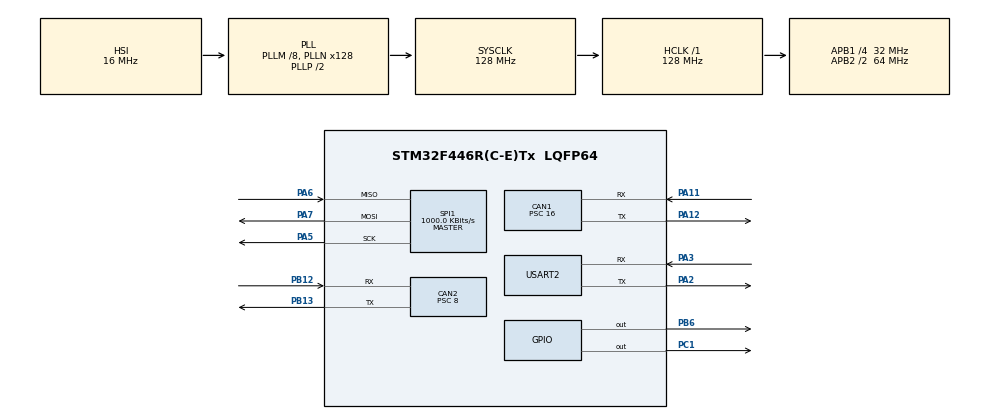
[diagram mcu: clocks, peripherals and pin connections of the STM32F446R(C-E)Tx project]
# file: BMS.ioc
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CAN1.BS1=CAN_BS1_2TQ
CAN1.CalculateBaudRate=500000
CAN1.CalculateTimeBit=2000
CAN1.CalculateTimeQuantum=500.0
CAN1.Mode=CAN_MODE_LOOPBACK
CAN1.Prescaler=16
CAN2.BS1=CAN_BS1_2TQ
CAN2.CalculateBaudRate=1000000
CAN2.CalculateTimeBit=1000
CAN2.CalculateTimeQuantum=250.0
CAN2.Prescaler=8
Mcu.Family=STM32F4
Mcu.Name=STM32F446R(C-E)Tx
Mcu.Package=LQFP64
NVIC.PriorityGroup=NVIC_PRIORITYGROUP_4
PA11.Mode=CAN_Activate
PA11.Signal=CAN1_RX
PA12.Mode=CAN_Activate
PA12.Signal=CAN1_TX
PA13.Mode=Serial_Wire
PA13.Signal=SYS_JTMS-SWDIO
PA14.Mode=Serial_Wire
PA14.Signal=SYS_JTCK-SWCLK
PA2.Mode=Asynchronous
PA2.Signal=USART2_TX
PA3.Mode=Asynchronous
PA3.Signal=USART2_RX
PA5.Mode=Full_Duplex_Master
PA5.Signal=SPI1_SCK
PA6.Mode=Full_Duplex_Master
PA6.Signal=SPI1_MISO
PA7.Mode=Full_Duplex_Master
PA7.Signal=SPI1_MOSI
PB12.Mode=CAN_Activate
PB12.Signal=CAN2_RX
PB13.Mode=CAN_Activate
PB13.Signal=CAN2_TX
PB6.Signal=GPIO_Output
PC1.Signal=GPIO_Output
ProjectManager.HeapSize=0x200
ProjectManager.StackSize=0x400
ProjectManager.TargetToolchain=STM32CubeIDE
RCC.AHBFreq_Value=128000000
RCC.APB1CLKDivider=RCC_HCLK_DIV4
RCC.APB1Freq_Value=32000000
RCC.APB1TimFreq_Value=64000000
RCC.APB2CLKDivider=RCC_HCLK_DIV2
RCC.APB2Freq_Value=64000000
RCC.APB2TimFreq_Value=128000000
RCC.CortexFreq_Value=128000000
RCC.HCLKFreq_Value=128000000
RCC.PLLM=8
RCC.PLLN=128
RCC.SYSCLKFreq_VALUE=128000000
RCC.SYSCLKSource=RCC_SYSCLKSOURCE_PLLCLK
RCC.USBFreq_Value=128000000
RCC.VCOOutputFreq_Value=256000000
SPI1.BaudRatePrescaler=SPI_BAUDRATEPRESCALER_64
SPI1.CalculateBaudRate=1000.0 KBits/s
SPI1.Direction=SPI_DIRECTION_2LINES
SPI1.Mode=SPI_MODE_MASTER
SPI1.VirtualType=VM_MASTER
USART2.VirtualMode=VM_ASYNC
board=custom

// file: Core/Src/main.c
/* USER CODE BEGIN Header */
/**
 ******************************************************************************
 * @file           : main.c
 * @brief          : Main program body
 ******************************************************************************
 * @attention
 *
 * Copyright (c) 2022 STMicroelectronics.
 * All rights reserved.
 *
 * This software is licensed under terms that can be found in the LICENSE file
 * in the root directory of this software component.
 * If no LICENSE file comes with this software, it is provided AS-IS.
 *
 ******************************************************************************
 */
/* USER CODE END Header */
#include "main.h"

/* USER CODE BEGIN Includes */
#include <math.h>

#include "LTC6811.h"
#include "FEB_logger.h"
#include "FEB_CAN.h"
/* USER CODE END Includes */

/* USER CODE BEGIN PTD */

#define CELLS_PER_BANK        17
#define N_BANKS               8
#define N_ICS                 N_BANKS * 2

typedef struct {
  float voltage;
  float temperature;
} Cell;

typedef struct {
  Cell cells[CELLS_PER_BANK];
} Bank;

typedef struct {
  cell_asic config[N_ICS];
  Bank banks[N_BANKS];
} Accumulator;
/* USER CODE END PTD */

/* USER CODE BEGIN PD */
#define MODULE_NAME     "BMS"

#define ENABLED               1
#define DISABLED              0
#define DATALOG_ENABLED       1
#define DATALOG_DISABLED      0

//ADC Command Configurations. See LTC681x.h for options.
#define ADC_OPT               ADC_OPT_DISABLED //!< ADC Mode option bit
#define ADC_CONVERSION_MODE   MD_7KHZ_3KHZ //!< ADC Mode
#define ADC_DCP               DCP_ENABLED //!< Discharge Permitted
#define CELL_CH_TO_CONVERT    CELL_CH_ALL //!< Channel Selection for ADC conversion
#define AUX_CH_TO_CONVERT     AUX_CH_ALL //!< Channel Selection for ADC conversion
#define STAT_CH_TO_CONVERT    STAT_CH_ALL //!< Channel Selection for ADC conversion
#define SEL_ALL_REG           REG_ALL //!< Register Selection
#define SEL_REG_A             REG_1 //!< Register Selection
#define SEL_REG_B             REG_2 //!< Register Selection

#define MEASUREMENT_LOOP_TIME 500 //!< Loop Time in milliseconds(ms)

//Under Voltage and Over Voltage Thresholds
#define OV_THRESHOLD          41000 //!< Over voltage threshold ADC Code. LSB = 0.0001 ---(4.1V)
#define UV_THRESHOLD          30000 //!< Under voltage threshold ADC Code. LSB = 0.0001 ---(3V)

//Loop Measurement Setup. These Variables are ENABLED or DISABLED. Remember ALL CAPS
#define WRITE_CONFIG          DISABLED  //!< This is to ENABLED or DISABLED writing into to configuration registers in a continuous loop
#define READ_CONFIG           DISABLED //!< This is to ENABLED or DISABLED reading the configuration registers in a continuous loop
#define MEASURE_CELL          ENABLED //!< This is to ENABLED or DISABLED measuring the cell voltages in a continuous loop
#define MEASURE_AUX           ENABLED //!< This is to ENABLED or DISABLED reading the auxiliary registers in a continuous loop
#define MEASURE_STAT          DISABLED //!< This is to ENABLED or DISABLED reading the status registers in a continuous loop
#define PRINT_PEC             DISABLED //!< This is to ENABLED or DISABLED printing the PEC Error Count in a continuous loop

/* USER CODE END PD */

 CAN_HandleTypeDef hcan1;
CAN_HandleTypeDef hcan2;

SPI_HandleTypeDef hspi1;

UART_HandleTypeDef huart2;

/* USER CODE BEGIN PV */

Accumulator accumulator;
/* USER CODE END PV */

void SystemClock_Config(void);
static void MX_GPIO_Init(void);
static void MX_CAN1_Init(void);
static void MX_SPI1_Init(void);
static void MX_USART2_UART_Init(void);
static void MX_CAN2_Init(void);
/* USER CODE BEGIN PFP */

void measurement_loop(uint8_t datalog_en);
void print_menu(void);
void print_wrconfig(void);
void print_rxconfig(void);
void print_cells(uint8_t datalog_en);
void print_aux(uint8_t datalog_en);
void print_stat(void);
void print_sumofcells(void);
void check_mux_fail(void);
void print_selftest_errors(uint8_t adc_reg, int8_t error);
void print_overlap_results(int8_t error);
void print_digital_redundancy_errors(uint8_t adc_reg, int8_t error);
void print_open_wires(void);
void print_pec_error_count(void);
int8_t select_s_pin(void);
void print_wrpwm(void);
void print_rxpwm(void);
void print_wrsctrl(void);
void print_rxsctrl(void);
void print_wrcomm(void);
void print_rxcomm(void);
void print_conv_time(uint32_t conv_time);
void check_error(int error);
void serial_print_text(char data[]);
void serial_print_hex(uint8_t data);
char read_hex(void);
char get_char(void);
/* USER CODE END PFP */

/* USER CODE BEGIN 0 */

Accumulator accumulator;
cell_asic bms_ic_arr[8]; //!< Global Battery Variable

uint8_t REFON = 1; //!< Reference Powered Up Bit
uint8_t ADCOPT = 0; //!< ADC Mode option bit
uint8_t GPIOBITS_A[5] = { 1, 1, 0, 0, 0 }; //!< GPIO Pin Control // Gpio 1,2,3,4,5    First two are ADC inputs, set to TRUE; latter 3 are MUX sel, outputs
uint16_t UV = UV_THRESHOLD; //!< Under-voltage Comparison Voltage
uint16_t OV = OV_THRESHOLD; //!< Over-voltage Comparison Voltage
uint8_t DCCBITS_A[12] = { 0, 0, 0, 0, 0, 0, 0, 0, 0, 0, 0, 0 }; //!< Discharge cell switch //Dcc 1,2,3,4,5,6,7,8,9,10,11,12
uint8_t DCTOBITS[4] = { 1, 0, 1, 0 }; //!< Discharge time value // Dcto 0,1,2,3 // Programed for 4 min

float getVoltage(uint16_t val) {
  return val == 65535 ? -42 : val * 0.0001;
}

float getTemperature(uint16_t val) {
  return val == 65535 ? -42 : 7550 - 16186 * (0.0001 * val) + 13149 * pow(0.0001 * val, 2) - 4755 * pow(0.0001 * val, 3) + 642 * pow(0.0001 * val, 4);
}

int8_t pollTemperature(uint16_t temperature_ch) {
  int8_t error = 0;
  LTC6811_init_cfg(N_ICS, accumulator.config);
  GPIOBITS_A[4] = (temperature_ch >> 2) & 0b1;
  GPIOBITS_A[3] = (temperature_ch >> 1) & 0b1;
  GPIOBITS_A[2] = (temperature_ch >> 0) & 0b1;
  GPIOBITS_A[1] = 0b1;
  GPIOBITS_A[0] = 0b1;
  for (uint16_t i = 0; i < N_ICS; i+=1) {
    LTC6811_set_cfgr(i, accumulator.config, REFON, ADCOPT, GPIOBITS_A, DCCBITS_A, DCTOBITS, UV, OV);
  }

  LTC6811_reset_crc_count(N_ICS, accumulator.config);
  LTC6811_init_reg_limits(N_ICS, accumulator.config);

  wakeup_sleep(N_ICS);
  LTC6811_wrcfg(N_ICS, accumulator.config);

  wakeup_idle(N_ICS);
  LTC6811_adax(ADC_CONVERSION_MODE, AUX_CH_ALL);
  LTC6811_pollAdc();
  wakeup_idle(N_ICS);
  error = LTC6811_rdaux(SEL_ALL_REG, N_ICS, accumulator.config); // Set to read back all aux registers
  return error;
}

/* USER CODE END 0 */

int main(void)
{

  /* MCU Configuration--------------------------------------------------------*/

  /* Reset of all peripherals, Initializes the Flash interface and the Systick. */
  HAL_Init();

  /* Configure the system clock */
  SystemClock_Config();

  /* Initialize all configured peripherals */
  MX_GPIO_Init();
  MX_CAN1_Init();
  MX_SPI1_Init();
  MX_USART2_UART_Init();
  MX_CAN2_Init();
  /* USER CODE BEGIN 2 */

  LTC6811_init_cfg(N_ICS, accumulator.config);
  LTC6811_set_cfgr(0, accumulator.config, REFON, ADCOPT, GPIOBITS_A, DCCBITS_A, DCTOBITS, UV, OV);

  //    temperatures[temperature_ch] = bms_ic_arr[ic_idx].aux.a_codes[1];

  LTC6811_reset_crc_count(N_ICS, accumulator.config);
  LTC6811_init_reg_limits(N_ICS, accumulator.config);

  FEB_CAN_initFilter(&hcan1, 0, 0);
  FEB_CAN_initFilter(&hcan2, 0, 0);

  if (HAL_CAN_Start(&hcan1) != HAL_OK) {
    while (1)
    HAL_UART_Transmit(&huart2, (uint8_t *) "CAN init Error\r\n", strlen("CAN init Error\r\n"), 100);
  }
  if (HAL_CAN_Start(&hcan2) != HAL_OK) {
    while (1)
    HAL_UART_Transmit(&huart2, (uint8_t *) "CAN init Error\r\n", strlen("CAN init Error\r\n"), 100);
  }
  /* USER CODE END 2 */

  /* Infinite loop */
  while (1) {

    /* USER CODE BEGIN 3 */

    int8_t error = 0;

    char str[128];

    LTC6811_init_cfg(N_ICS, accumulator.config);
    uint8_t temperature_ch = 0;
    GPIOBITS_A[4] = (temperature_ch >> 2) & 0b1;
    GPIOBITS_A[3] = (temperature_ch >> 1) & 0b1;
    GPIOBITS_A[2] = (temperature_ch >> 0) & 0b1;
    GPIOBITS_A[1] = 0b1;
    GPIOBITS_A[0] = 0b1;
    LTC6811_set_cfgr(N_ICS, accumulator.config, REFON, ADCOPT, GPIOBITS_A, DCCBITS_A, DCTOBITS, UV, OV);

    LTC6811_reset_crc_count(N_ICS, accumulator.config);
    LTC6811_init_reg_limits(N_ICS, accumulator.config);

    wakeup_sleep(N_ICS);
    LTC6811_wrcfg(N_ICS, accumulator.config);

    wakeup_idle(N_ICS);
    LTC6811_adcv(ADC_CONVERSION_MODE, ADC_DCP, CELL_CH_TO_CONVERT);
    LTC6811_pollAdc();
    wakeup_idle(N_ICS);
    error = LTC6811_rdcv(SEL_ALL_REG, N_ICS, accumulator.config);

    sprintf(str, "error code %d\r\n", error);
    FEB_log(MODULE_NAME, "DEBUG", str);

    for (uint16_t bank_idx = 0; bank_idx < N_BANKS; bank_idx += 1) {
      accumulator.banks[bank_idx].cells[16].voltage = getVoltage(accumulator.config[bank_idx * 2].cells.c_codes[0]);
      accumulator.banks[bank_idx].cells[15].voltage = getVoltage(accumulator.config[bank_idx * 2].cells.c_codes[1]);
      accumulator.banks[bank_idx].cells[14].voltage = getVoltage(accumulator.config[bank_idx * 2].cells.c_codes[2]);
      accumulator.banks[bank_idx].cells[13].voltage = getVoltage(accumulator.config[bank_idx * 2].cells.c_codes[3]);
      accumulator.banks[bank_idx].cells[12].voltage = getVoltage(accumulator.config[bank_idx * 2].cells.c_codes[6]);
      accumulator.banks[bank_idx].cells[11].voltage = getVoltage(accumulator.config[bank_idx * 2].cells.c_codes[7]);
      accumulator.banks[bank_idx].cells[10].voltage = getVoltage(accumulator.config[bank_idx * 2].cells.c_codes[8]);
      accumulator.banks[bank_idx].cells[9].voltage = getVoltage(accumulator.config[bank_idx * 2].cells.c_codes[9]);

      accumulator.banks[bank_idx].cells[8].voltage = getVoltage(accumulator.config[bank_idx * 2 + 1].cells.c_codes[0]);
      accumulator.banks[bank_idx].cells[7].voltage = getVoltage(accumulator.config[bank_idx * 2 + 1].cells.c_codes[1]);
      accumulator.banks[bank_idx].cells[6].voltage = getVoltage(accumulator.config[bank_idx * 2 + 1].cells.c_codes[2]);
      accumulator.banks[bank_idx].cells[5].voltage = getVoltage(accumulator.config[bank_idx * 2 + 1].cells.c_codes[3]);
      accumulator.banks[bank_idx].cells[4].voltage = getVoltage(accumulator.config[bank_idx * 2 + 1].cells.c_codes[4]);
      accumulator.banks[bank_idx].cells[3].voltage = getVoltage(accumulator.config[bank_idx * 2 + 1].cells.c_codes[6]);
      accumulator.banks[bank_idx].cells[2].voltage = getVoltage(accumulator.config[bank_idx * 2 + 1].cells.c_codes[7]);
      accumulator.banks[bank_idx].cells[1].voltage = getVoltage(accumulator.config[bank_idx * 2 + 1].cells.c_codes[8]);
      accumulator.banks[bank_idx].cells[0].voltage = getVoltage(accumulator.config[bank_idx * 2 + 1].cells.c_codes[9]);
    }

    pollTemperature(0);
    for (uint16_t bank_idx = 0; bank_idx < N_BANKS; bank_idx += 1) {
      accumulator.banks[bank_idx].cells[12].temperature = getTemperature(accumulator.config[bank_idx * 2].aux.a_codes[0]);
      accumulator.banks[bank_idx].cells[16].temperature = getTemperature(accumulator.config[bank_idx * 2].aux.a_codes[1]);
      accumulator.banks[bank_idx].cells[4].temperature = getTemperature(accumulator.config[bank_idx * 2 + 1].aux.a_codes[0]);
      accumulator.banks[bank_idx].cells[8].temperature = getTemperature(accumulator.config[bank_idx * 2 + 1].aux.a_codes[1]);
    }

    pollTemperature(1);
    for (uint16_t bank_idx = 0; bank_idx < N_BANKS; bank_idx += 1) {
      accumulator.banks[bank_idx].cells[11].temperature = getTemperature(accumulator.config[bank_idx * 2].aux.a_codes[0]);
      accumulator.banks[bank_idx].cells[15].temperature = getTemperature(accumulator.config[bank_idx * 2].aux.a_codes[1]);
      accumulator.banks[bank_idx].cells[3].temperature = getTemperature(accumulator.config[bank_idx * 2 + 1].aux.a_codes[0]);
      accumulator.banks[bank_idx].cells[7].temperature = getTemperature(accumulator.config[bank_idx * 2 + 1].aux.a_codes[1]);
    }

    pollTemperature(2);
    for (uint16_t bank_idx = 0; bank_idx < N_BANKS; bank_idx += 1) {
      accumulator.banks[bank_idx].cells[10].temperature = getTemperature(accumulator.config[bank_idx * 2].aux.a_codes[0]);
      accumulator.banks[bank_idx].cells[14].temperature = getTemperature(accumulator.config[bank_idx * 2].aux.a_codes[1]);
      accumulator.banks[bank_idx].cells[2].temperature = getTemperature(accumulator.config[bank_idx * 2 + 1].aux.a_codes[0]);
      accumulator.banks[bank_idx].cells[6].temperature = getTemperature(accumulator.config[bank_idx * 2 + 1].aux.a_codes[1]);
    }

    pollTemperature(3);
    for (uint16_t bank_idx = 0; bank_idx < N_BANKS; bank_idx += 1) {
      accumulator.banks[bank_idx].cells[9].temperature = getTemperature(accumulator.config[bank_idx * 2].aux.a_codes[0]);
      accumulator.banks[bank_idx].cells[13].temperature = getTemperature(accumulator.config[bank_idx * 2].aux.a_codes[1]);
      accumulator.banks[bank_idx].cells[1].temperature = getTemperature(accumulator.config[bank_idx * 2 + 1].aux.a_codes[0]);
      accumulator.banks[bank_idx].cells[5].temperature = getTemperature(accumulator.config[bank_idx * 2 + 1].aux.a_codes[1]);
    }

    pollTemperature(4);
    for (uint16_t bank_idx = 0; bank_idx < N_BANKS; bank_idx += 1) {
      accumulator.banks[bank_idx].cells[0].temperature = getTemperature(accumulator.config[bank_idx * 2 + 1].aux.a_codes[0]);
    }

    for (uint16_t bank_idx = 0; bank_idx < N_BANKS; bank_idx += 1) {
      sprintf(str, "======= Bank %d ========\r\n", bank_idx);
      HAL_UART_Transmit(&huart2, (uint8_t*) str, strlen(str), 100);

      sprintf(str, "Cells:\r\n");
      HAL_UART_Transmit(&huart2, (uint8_t*) str, strlen(str), 100);

      for (uint16_t cell_idx = 0; cell_idx < CELLS_PER_BANK; cell_idx += 1) {
        sprintf(str, "%d\t", cell_idx + 1);
        HAL_UART_Transmit(&huart2, (uint8_t*) str, strlen(str), 100);
      }

      sprintf(str, "\r\n");
      HAL_UART_Transmit(&huart2, (uint8_t*) str, strlen(str), 100);

      for (uint16_t cell_idx = 0; cell_idx < CELLS_PER_BANK; cell_idx += 1) {
        sprintf(str, "%.3f\t", accumulator.banks[bank_idx].cells[cell_idx].voltage);
        HAL_UART_Transmit(&huart2, (uint8_t*) str, strlen(str), 100);
      }

      sprintf(str, "\r\n");
      HAL_UART_Transmit(&huart2, (uint8_t*) str, strlen(str), 100);

      for (uint16_t cell_idx = 0; cell_idx < 17; cell_idx += 1) {
        sprintf(str, "%.3f\t", accumulator.banks[bank_idx].cells[cell_idx].temperature);
        HAL_UART_Transmit(&huart2, (uint8_t*) str, strlen(str), 100);
      }

      sprintf(str, "\r\n");
      HAL_UART_Transmit(&huart2, (uint8_t*) str, strlen(str), 100);

      sprintf(str, "Vref2: %.3f\r\n\r\n", accumulator.config[bank_idx * 2].aux.a_codes[5] * 0.0001);
      HAL_UART_Transmit(&huart2, (uint8_t*) str, strlen(str), 100);

    }

    for (uint16_t bank_idx = 0; bank_idx < N_BANKS; bank_idx += 1) {
      for (uint16_t cell_idx = 0; cell_idx < 17; cell_idx += 1) {
        uint32_t can_id = 0x500 + (bank_idx * CELLS_PER_BANK) + cell_idx;

        float data[2];
        data[0] = accumulator.banks[bank_idx].cells[cell_idx].voltage;
        data[1] = accumulator.banks[bank_idx].cells[cell_idx].temperature;

        FEB_CAN_transmit(&hcan2, can_id, (uint8_t *)data, 8, 0);

        HAL_Delay(10);
      }
    }

    HAL_Delay(1000);
  }
  /* USER CODE END 3 */
}

void SystemClock_Config(void)
{
  RCC_OscInitTypeDef RCC_OscInitStruct = {0};
  RCC_ClkInitTypeDef RCC_ClkInitStruct = {0};

  /** Configure the main internal regulator output voltage
  */
  __HAL_RCC_PWR_CLK_ENABLE();
  __HAL_PWR_VOLTAGESCALING_CONFIG(PWR_REGULATOR_VOLTAGE_SCALE2);

  /** Initializes the RCC Oscillators according to the specified parameters
  * in the RCC_OscInitTypeDef structure.
  */
  RCC_OscInitStruct.OscillatorType = RCC_OSCILLATORTYPE_HSI;
  RCC_OscInitStruct.HSIState = RCC_HSI_ON;
  RCC_OscInitStruct.HSICalibrationValue = RCC_HSICALIBRATION_DEFAULT;
  RCC_OscInitStruct.PLL.PLLState = RCC_PLL_ON;
  RCC_OscInitStruct.PLL.PLLSource = RCC_PLLSOURCE_HSI;
  RCC_OscInitStruct.PLL.PLLM = 8;
  RCC_OscInitStruct.PLL.PLLN = 128;
  RCC_OscInitStruct.PLL.PLLP = RCC_PLLP_DIV2;
  RCC_OscInitStruct.PLL.PLLQ = 2;
  RCC_OscInitStruct.PLL.PLLR = 2;
  if (HAL_RCC_OscConfig(&RCC_OscInitStruct) != HAL_OK)
  {
    Error_Handler();
  }

  /** Initializes the CPU, AHB and APB buses clocks
  */
  RCC_ClkInitStruct.ClockType = RCC_CLOCKTYPE_HCLK|RCC_CLOCKTYPE_SYSCLK
                              |RCC_CLOCKTYPE_PCLK1|RCC_CLOCKTYPE_PCLK2;
  RCC_ClkInitStruct.SYSCLKSource = RCC_SYSCLKSOURCE_PLLCLK;
  RCC_ClkInitStruct.AHBCLKDivider = RCC_SYSCLK_DIV1;
  RCC_ClkInitStruct.APB1CLKDivider = RCC_HCLK_DIV4;
  RCC_ClkInitStruct.APB2CLKDivider = RCC_HCLK_DIV2;

  if (HAL_RCC_ClockConfig(&RCC_ClkInitStruct, FLASH_LATENCY_4) != HAL_OK)
  {
    Error_Handler();
  }
}

static void MX_CAN1_Init(void)
{

  hcan1.Instance = CAN1;
  hcan1.Init.Prescaler = 16;
  hcan1.Init.Mode = CAN_MODE_LOOPBACK;
  hcan1.Init.SyncJumpWidth = CAN_SJW_1TQ;
  hcan1.Init.TimeSeg1 = CAN_BS1_2TQ;
  hcan1.Init.TimeSeg2 = CAN_BS2_1TQ;
  hcan1.Init.TimeTriggeredMode = DISABLE;
  hcan1.Init.AutoBusOff = DISABLE;
  hcan1.Init.AutoWakeUp = DISABLE;
  hcan1.Init.AutoRetransmission = DISABLE;
  hcan1.Init.ReceiveFifoLocked = DISABLE;
  hcan1.Init.TransmitFifoPriority = DISABLE;
  if (HAL_CAN_Init(&hcan1) != HAL_OK)
  {
    Error_Handler();
  }

}

static void MX_CAN2_Init(void)
{

  hcan2.Instance = CAN2;
  hcan2.Init.Prescaler = 8;
  hcan2.Init.Mode = CAN_MODE_NORMAL;
  hcan2.Init.SyncJumpWidth = CAN_SJW_1TQ;
  hcan2.Init.TimeSeg1 = CAN_BS1_2TQ;
  hcan2.Init.TimeSeg2 = CAN_BS2_1TQ;
  hcan2.Init.TimeTriggeredMode = DISABLE;
  hcan2.Init.AutoBusOff = DISABLE;
  hcan2.Init.AutoWakeUp = DISABLE;
  hcan2.Init.AutoRetransmission = DISABLE;
  hcan2.Init.ReceiveFifoLocked = DISABLE;
  hcan2.Init.TransmitFifoPriority = DISABLE;
  if (HAL_CAN_Init(&hcan2) != HAL_OK)
  {
    Error_Handler();
  }

}

static void MX_SPI1_Init(void)
{

  /* SPI1 parameter configuration*/
  hspi1.Instance = SPI1;
  hspi1.Init.Mode = SPI_MODE_MASTER;
  hspi1.Init.Direction = SPI_DIRECTION_2LINES;
  hspi1.Init.DataSize = SPI_DATASIZE_8BIT;
  hspi1.Init.CLKPolarity = SPI_POLARITY_LOW;
  hspi1.Init.CLKPhase = SPI_PHASE_1EDGE;
  hspi1.Init.NSS = SPI_NSS_SOFT;
  hspi1.Init.BaudRatePrescaler = SPI_BAUDRATEPRESCALER_64;
  hspi1.Init.FirstBit = SPI_FIRSTBIT_MSB;
  hspi1.Init.TIMode = SPI_TIMODE_DISABLE;
  hspi1.Init.CRCCalculation = SPI_CRCCALCULATION_DISABLE;
  hspi1.Init.CRCPolynomial = 10;
  if (HAL_SPI_Init(&hspi1) != HAL_OK)
  {
    Error_Handler();
  }

}

static void MX_USART2_UART_Init(void)
{

  huart2.Instance = USART2;
  huart2.Init.BaudRate = 115200;
  huart2.Init.WordLength = UART_WORDLENGTH_8B;
  huart2.Init.StopBits = UART_STOPBITS_1;
  huart2.Init.Parity = UART_PARITY_NONE;
  huart2.Init.Mode = UART_MODE_TX_RX;
  huart2.Init.HwFlowCtl = UART_HWCONTROL_NONE;
  huart2.Init.OverSampling = UART_OVERSAMPLING_16;
  if (HAL_UART_Init(&huart2) != HAL_OK)
  {
    Error_Handler();
  }

}

static void MX_GPIO_Init(void)
{
  GPIO_InitTypeDef GPIO_InitStruct = {0};

  /* GPIO Ports Clock Enable */
  __HAL_RCC_GPIOC_CLK_ENABLE();
  __HAL_RCC_GPIOA_CLK_ENABLE();
  __HAL_RCC_GPIOB_CLK_ENABLE();

  /*Configure GPIO pin Output Level */
  HAL_GPIO_WritePin(GPIOC, GPIO_PIN_1, GPIO_PIN_SET);

  /*Configure GPIO pin Output Level */
  HAL_GPIO_WritePin(GPIOB, GPIO_PIN_6, GPIO_PIN_RESET);

  /*Configure GPIO pin : PC1 */
  GPIO_InitStruct.Pin = GPIO_PIN_1;
  GPIO_InitStruct.Mode = GPIO_MODE_OUTPUT_PP;
  GPIO_InitStruct.Pull = GPIO_NOPULL;
  GPIO_InitStruct.Speed = GPIO_SPEED_FREQ_LOW;
  HAL_GPIO_Init(GPIOC, &GPIO_InitStruct);

  /*Configure GPIO pin : PB6 */
  GPIO_InitStruct.Pin = GPIO_PIN_6;
  GPIO_InitStruct.Mode = GPIO_MODE_OUTPUT_PP;
  GPIO_InitStruct.Pull = GPIO_NOPULL;
  GPIO_InitStruct.Speed = GPIO_SPEED_FREQ_LOW;
  HAL_GPIO_Init(GPIOB, &GPIO_InitStruct);

}

void Error_Handler(void)
{
  __disable_irq();
  while (1) {
  }
}
